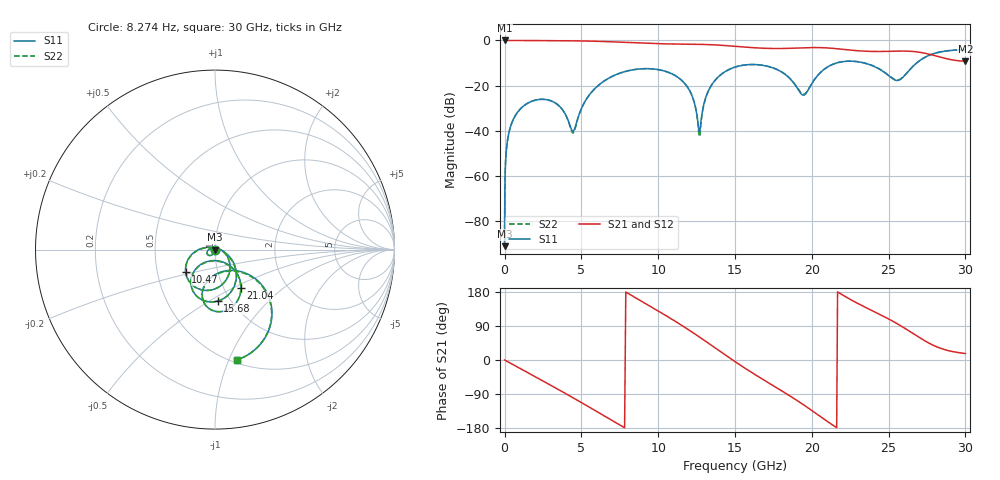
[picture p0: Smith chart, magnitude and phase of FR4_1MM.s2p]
! Created Tue Apr  6 14:10:27 2021
! List of port names and net name(s): example Port n = <port_name> <net_name1> <net_name2> ...
! Port 1 = P1 P1
! Port 2 = P2 P2
# hz S ri R 50
! 2 Port Network Data from data block
! freq  reS11  imS11  reS21  imS21  reS12  imS12  reS22  imS22
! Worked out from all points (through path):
!   542 points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, 8.274 Hz to 30 GHz, reference 50 ohm
!   highest |S21| = 0.00 dB at 26.17 kHz (marker M1); lowest = -9.2 dB at 30 GHz (marker M2)
!   group delay of S21, straight-line fit = 68.8 ps
!   lowest |S11| = -91.3 dB at 8.274 Hz (marker M3), VSWR 1.00, Z = 50 - j2.67e-08 ohm
!   |S11| at or under -10 dB: start of sweep to 21.61 GHz; 23.41 GHz to 26.82 GHz (3.415 GHz wide, 13.6 % of centre)
!   |S22| runs from -91.3 to -4.1 dB; largest |S21 - S12| = 0
!   S11 on the Smith chart (normalised r, x): 8.274 Hz: 1.00, -0.00; 10.47 GHz: 0.70, -0.18; 15.68 GHz: 0.87, -0.55; 21.04 GHz: 1.20, -0.56; 30 GHz: 0.53, -1.07
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8.274252  2.74e-05 -2.67e-10  1 -3.23e-09  1 -3.23e-09  2.74e-05 -2.69e-10
26165.48  2.74e-05 -8.44e-07  1 -1.02e-05  1 -1.02e-05  2.74e-05 -8.51e-07
3.294039e7  1.01e-05 -0.00106  0.9999 -0.0129  0.9999 -0.0129  1e-05 -0.00107
1.314494e8  -0.000246 -0.00423  0.9984 -0.0512  0.9984 -0.0512  -0.000247 -0.00426
6.770833e8  -0.00639 -0.02  0.9642 -0.2584  0.9642 -0.2584  -0.00632 -0.0199
2.8125e9  -0.0445 -0.0182  0.4596 -0.8781  0.4596 -0.8781  -0.0443 -0.0185
4.453125e9  0.001 0.00949  -0.1642 -0.9676  -0.1642 -0.9676  0.000861 0.0087
5.078125e9  0.0352 -0.00246  -0.3988 -0.8891  -0.3988 -0.8891  0.0349 -0.00326
7.5e9  0.054 -0.1799  -0.9063 -0.1361  -0.9063 -0.1361  0.0537 -0.18
1.005208e10  -0.1512 -0.1651  -0.5217 0.666  -0.5217 0.666  -0.1504 -0.1661
1.046875e10  -0.1635 -0.1264  -0.394 0.7411  -0.394 0.7411  -0.1628 -0.1279
1.197917e10  -0.0843 0.00306  0.1473 0.813  0.1473 0.813  -0.0846 0.000783
1.270833e10  0.00564 0.00787  0.41 0.7093  0.41 0.7093  0.00463 0.00578
1.34375e10  0.0864 -0.0461  0.6205 0.5117  0.6205 0.5117  0.085 -0.0476
1.505208e10  0.0792 -0.2471  0.7357 -0.0732  0.7357 -0.0732  0.0785 -0.2475
1.567708e10  0.0159 -0.2864  0.6576 -0.2704  0.6576 -0.2704  0.0158 -0.2868
1.942708e10  -0.00504 -0.061  -0.3147 -0.6105  -0.3147 -0.6105  -0.00632 -0.0636
2.005787e10  0.08 -0.0875  -0.4907 -0.4926  -0.4907 -0.4926  0.0782 -0.0895
2.104167e10  0.1456 -0.2158  -0.6515 -0.1999  -0.6515 -0.1999  0.1439 -0.2166
2.503472e10  -0.028 -0.1597  -0.1736 0.5475  -0.1736 0.5475  -0.0278 -0.1631
2.742188e10  0.3118 -0.3007  0.3374 0.3896  0.3374 0.3896  0.3093 -0.3027
3e10  0.1244 -0.6136  0.3315 0.1013  0.3315 0.1013  0.1249 -0.6142
